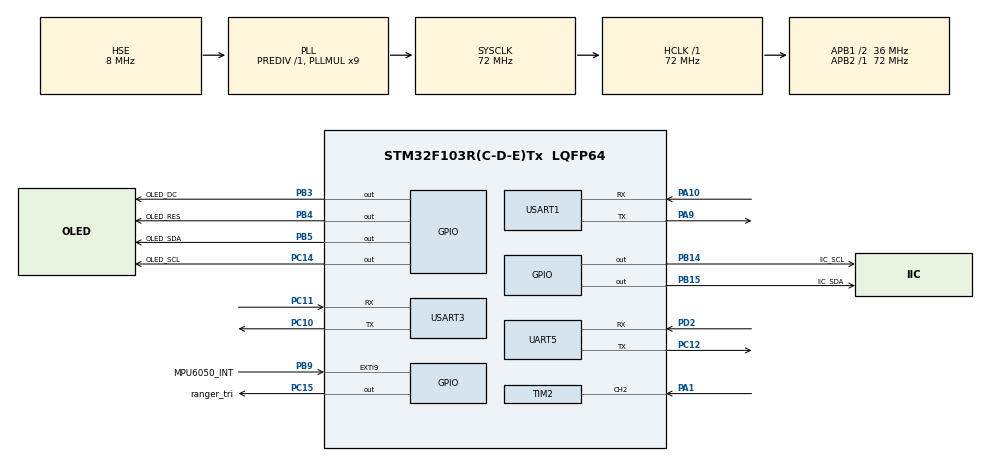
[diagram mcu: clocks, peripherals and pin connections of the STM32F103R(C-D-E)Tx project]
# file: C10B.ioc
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Dma.Request0=USART3_RX
Dma.USART3_RX.0.Direction=DMA_PERIPH_TO_MEMORY
Dma.USART3_RX.0.Instance=DMA1_Channel3
Dma.USART3_RX.0.MemDataAlignment=DMA_MDATAALIGN_BYTE
Dma.USART3_RX.0.MemInc=DMA_MINC_ENABLE
Dma.USART3_RX.0.Mode=DMA_NORMAL
Dma.USART3_RX.0.PeriphDataAlignment=DMA_PDATAALIGN_BYTE
Dma.USART3_RX.0.PeriphInc=DMA_PINC_DISABLE
Dma.USART3_RX.0.Priority=DMA_PRIORITY_LOW
Mcu.Family=STM32F1
Mcu.Name=STM32F103R(C-D-E)Tx
Mcu.Package=LQFP64
NVIC.DMA1_Channel3_IRQn=true\:0\:0\:false\:false\:true\:false\:true\:true
NVIC.EXTI9_5_IRQn=true\:6\:0\:true\:false\:true\:true\:true\:true
NVIC.PriorityGroup=NVIC_PRIORITYGROUP_4
NVIC.TIM2_IRQn=true\:4\:0\:true\:false\:true\:true\:true\:true
NVIC.TIM7_IRQn=true\:5\:0\:true\:false\:true\:true\:true\:true
NVIC.UART5_IRQn=true\:5\:0\:true\:false\:true\:true\:true\:true
NVIC.USART3_IRQn=true\:5\:0\:true\:false\:true\:true\:true\:true
PA1.Signal=S_TIM2_CH2
PA10.Mode=Asynchronous
PA10.Signal=USART1_RX
PA13.Mode=Serial_Wire
PA13.Signal=SYS_JTMS-SWDIO
PA14.Mode=Serial_Wire
PA14.Signal=SYS_JTCK-SWCLK
PA9.Mode=Asynchronous
PA9.Signal=USART1_TX
PB14.GPIO_Label=IIC_SCL
PB14.GPIO_Speed=GPIO_SPEED_FREQ_HIGH
PB14.PinState=GPIO_PIN_SET
PB14.Signal=GPIO_Output
PB15.GPIO_Label=IIC_SDA
PB15.GPIO_Speed=GPIO_SPEED_FREQ_HIGH
PB15.PinState=GPIO_PIN_SET
PB15.Signal=GPIO_Output
PB3.GPIO_Label=OLED_DC
PB3.GPIO_Speed=GPIO_SPEED_FREQ_HIGH
PB3.PinState=GPIO_PIN_SET
PB3.Signal=GPIO_Output
PB4.GPIO_Label=OLED_RES
PB4.GPIO_Speed=GPIO_SPEED_FREQ_HIGH
PB4.PinState=GPIO_PIN_SET
PB4.Signal=GPIO_Output
PB5.GPIO_Label=OLED_SDA
PB5.GPIO_Speed=GPIO_SPEED_FREQ_HIGH
PB5.PinState=GPIO_PIN_SET
PB5.Signal=GPIO_Output
PB9.GPIO_Label=MPU6050_INT
PB9.GPIO_ModeDefaultEXTI=GPIO_MODE_IT_FALLING
PB9.GPIO_PuPd=GPIO_PULLUP
PB9.Signal=GPXTI9
PC10.Mode=Asynchronous
PC10.Signal=USART3_TX
PC11.Mode=Asynchronous
PC11.Signal=USART3_RX
PC12.Mode=Asynchronous
PC12.Signal=UART5_TX
PC14-OSC32_IN.GPIO_Label=OLED_SCL
PC14-OSC32_IN.Signal=GPIO_Output
PC15-OSC32_OUT.GPIO_Label=ranger_tri
PC15-OSC32_OUT.Signal=GPIO_Output
PD0-OSC_IN.Mode=HSE-External-Oscillator
PD0-OSC_IN.Signal=RCC_OSC_IN
PD1-OSC_OUT.Mode=HSE-External-Oscillator
PD1-OSC_OUT.Signal=RCC_OSC_OUT
PD2.Mode=Asynchronous
PD2.Signal=UART5_RX
ProjectManager.HeapSize=0x200
ProjectManager.StackSize=0x400
ProjectManager.TargetToolchain=MDK-ARM V5.32
RCC.AHBFreq_Value=72000000
RCC.APB1CLKDivider=RCC_HCLK_DIV2
RCC.APB1Freq_Value=36000000
RCC.APB1TimFreq_Value=72000000
RCC.APB2Freq_Value=72000000
RCC.APB2TimFreq_Value=72000000
RCC.HCLKFreq_Value=72000000
RCC.PLLMUL=RCC_PLL_MUL9
RCC.PLLSourceVirtual=RCC_PLLSOURCE_HSE
RCC.SYSCLKFreq_VALUE=72000000
RCC.SYSCLKSource=RCC_SYSCLKSOURCE_PLLCLK
RCC.USBFreq_Value=72000000
SH.S_TIM2_CH2.0=TIM2_CH2,Input_Capture2_from_TI2
TIM2.Channel-Input_Capture2_from_TI2=TIM_CHANNEL_2
TIM2.Prescaler=71
TIM7.Period=9999
TIM7.Prescaler=71
UART5.VirtualMode=Asynchronous
USART1.VirtualMode=VM_ASYNC
USART3.VirtualMode=VM_ASYNC
VP_TIM2_VS_ClockSourceINT.Mode=Internal
VP_TIM7_VS_ClockSourceINT.Mode=Enable_Timer
board=custom

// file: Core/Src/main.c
/* USER CODE BEGIN Header */
/**
  ******************************************************************************
  * @file           : main.c
  * @brief          : Main program body
  ******************************************************************************
  * @attention
  *
  * Copyright (c) 2025 STMicroelectronics.
  * All rights reserved.
  *
  * This software is licensed under terms that can be found in the LICENSE file
  * in the root directory of this software component.
  * If no LICENSE file comes with this software, it is provided AS-IS.
  *
  ******************************************************************************
  */

/* USER CODE END Header */
#include "main.h"
#include "dma.h"
#include "tim.h"
#include "usart.h"
#include "gpio.h"

/* USER CODE BEGIN Includes */
#include <stdio.h>
/* USER CODE END Includes */

/* USER CODE BEGIN PV */
float ranger_dis=0;
float temperature=0;
uint8_t k210_buffer[30];
uint8_t k210_active_cnt = 0;
uint8_t k210_active_flag=0;

C10B_Sendmsg c10b_send = { 0 };
/* USER CODE END PV */

void SystemClock_Config(void);

int main(void)
{

  /* MCU Configuration--------------------------------------------------------*/

  /* Reset of all peripherals, Initializes the Flash interface and the Systick. */
  HAL_Init();

  /* Configure the system clock */
  SystemClock_Config();

  /* Initialize all configured peripherals */
  MX_GPIO_Init();
  MX_DMA_Init();
  MX_UART5_Init();
  MX_USART3_UART_Init();
  MX_TIM2_Init();
  MX_TIM7_Init();
  MX_USART1_UART_Init();
  /* USER CODE BEGIN 2 */
	DWT_Init();
	OLED_Init();

	//启动超声波通道
	HAL_TIM_IC_Start_IT(&htim2,TIM_CHANNEL_2);

	//MPU6050初始化
	MPU6050_initialize();
	DMP_Init();

	//启动DMA接收K210数据
	HAL_UARTEx_ReceiveToIdle_DMA(&huart3,k210_buffer,30);

  /* USER CODE END 2 */

  /* Infinite loop */
  /* USER CODE BEGIN WHILE */
  while (1)
  {
	  //姿态显示
	  OLED_ShowString(0,0,"Pitch");
	  OLED_ShowString(0,10,"Roll");
	  OLED_ShowString(0,20,"Yaw");
	  OLED_ShowFloat(50,0,Pitch,3,2);
	  OLED_ShowFloat(50,10,Roll,3,2);
	  OLED_ShowFloat(50,20,Yaw,3,2);

	  //温度显示
	  OLED_ShowString(0,30,"temp");
	  OLED_ShowFloat(50,30,temperature,3,2);

	  //颜色显示
	  OLED_ShowString(0,40,"color");
		if(k210.color==0){
			OLED_ShowString(50,40,"red");
		}else if(k210.color==1){
			OLED_ShowString(50,40,"green");
		}else if(k210.color==2){
			OLED_ShowString(50,40,"yellow");
		}

	  //巡线中心与识别面积显示
	  OLED_ShowNumber(30,50,k210.cx,3,12);
	  OLED_ShowNumber(60,50,k210.size,4,12);

	  OLED_Refresh_Gram();
	  delay_ms(10);
    /* USER CODE END WHILE */

  }
}

void SystemClock_Config(void)
{
  RCC_OscInitTypeDef RCC_OscInitStruct = {0};
  RCC_ClkInitTypeDef RCC_ClkInitStruct = {0};

  /** Initializes the RCC Oscillators according to the specified parameters
  * in the RCC_OscInitTypeDef structure.
  */
  RCC_OscInitStruct.OscillatorType = RCC_OSCILLATORTYPE_HSE;
  RCC_OscInitStruct.HSEState = RCC_HSE_ON;
  RCC_OscInitStruct.HSEPredivValue = RCC_HSE_PREDIV_DIV1;
  RCC_OscInitStruct.HSIState = RCC_HSI_ON;
  RCC_OscInitStruct.PLL.PLLState = RCC_PLL_ON;
  RCC_OscInitStruct.PLL.PLLSource = RCC_PLLSOURCE_HSE;
  RCC_OscInitStruct.PLL.PLLMUL = RCC_PLL_MUL9;
  if (HAL_RCC_OscConfig(&RCC_OscInitStruct) != HAL_OK)
  {
    Error_Handler();
  }

  /** Initializes the CPU, AHB and APB buses clocks
  */
  RCC_ClkInitStruct.ClockType = RCC_CLOCKTYPE_HCLK|RCC_CLOCKTYPE_SYSCLK
                              |RCC_CLOCKTYPE_PCLK1|RCC_CLOCKTYPE_PCLK2;
  RCC_ClkInitStruct.SYSCLKSource = RCC_SYSCLKSOURCE_PLLCLK;
  RCC_ClkInitStruct.AHBCLKDivider = RCC_SYSCLK_DIV1;
  RCC_ClkInitStruct.APB1CLKDivider = RCC_HCLK_DIV2;
  RCC_ClkInitStruct.APB2CLKDivider = RCC_HCLK_DIV1;

  if (HAL_RCC_ClockConfig(&RCC_ClkInitStruct, FLASH_LATENCY_2) != HAL_OK)
  {
    Error_Handler();
  }
}

/* USER CODE BEGIN 4 */
//串口重定向
UART_HandleTypeDef *DebugSerial = &huart1;

//printf函数实现
int fputc(int ch,FILE* stream)
{
	while( HAL_OK != HAL_UART_Transmit(DebugSerial,(const uint8_t *)&ch,1,100));
	return ch;
}

//MPU6050外部中断
void HAL_GPIO_EXTI_Callback(uint16_t GPIO_Pin)
{
	static uint8_t ranger_cnt = 0;
	static uint32_t temperature_cnt = 0;
	static uint8_t c50c_send_cnt = 0;

	uint8_t tempbuffer[2];

	//MPU6050 外部中断引脚触发 频率为 DEFAULT_MPU_HZ
	if( GPIO_Pin == MPU6050_INT_Pin )
	{
		//获取温度值
		temperature_cnt++;
		if( temperature_cnt>=100*5 )
		{
			temperature_cnt=0;
			pIICInterface_t iic = &User_sIICDev;
			iic->read_reg(0x68<<1,0x41,tempbuffer,2,200);
			temperature = (float)((short)(tempbuffer[0]<<8|tempbuffer[1]))/340.0f+36.53f;//温度数据
		}

		//陀螺仪数据读取
		 Read_DMP();

		//触发超声波工作 20Hz
		ranger_cnt++;
		if( ranger_cnt>=5 )
		{
			ranger_cnt=0;
			HAL_GPIO_WritePin(ranger_tri_GPIO_Port,ranger_tri_Pin,GPIO_PIN_RESET);
			delay_us(15);
			HAL_GPIO_WritePin(ranger_tri_GPIO_Port,ranger_tri_Pin,GPIO_PIN_SET);
		}

		//k210活跃检测
		k210_active_cnt++;
		if( k210_active_cnt>=100*1 )
		{
			k210_active_flag = 0;
		}

		//20Hz频率传输数据到C50C
		c50c_send_cnt++;
		if( c50c_send_cnt>=5 )
		{
			c50c_send_cnt = 0;
			c10b_send.Head1 = C10B_HEAD1;
			c10b_send.Head2 = C10B_HEAD2;
			c10b_send.k210_alive = k210_active_flag;
			c10b_send.k210_cx = k210.cx;
			c10b_send.k210_size = k210.size;
			c10b_send.color = k210.color;
			c10b_send.temperature = temperature*100;
			uint8_t* sendptr = (uint8_t*)&c10b_send;
			c10b_send.BCCcheck = calculateBCC(sendptr,sizeof(c10b_send)-1);
			HAL_UART_Transmit(&huart5,sendptr,sizeof(c10b_send),500);
		}
	}
}

//超声波采集辅助变量
uint32_t upvalue=0;
uint32_t downvalue=0;
//超声波采集中断
void HAL_TIM_IC_CaptureCallback(TIM_HandleTypeDef *htim)
{
	#define TIM_COUNT_FREQ 1000000.0f
	enum {
		WaitUp=0,
		WaitDown,
	};
	static uint8_t sm = WaitUp;

	//超声波接口触发中断
	if( htim == &htim2 && htim->Channel == HAL_TIM_ACTIVE_CHANNEL_2 )
	{
		switch (sm)
		{
			case WaitUp:
			{
				//读出计数值
				upvalue = HAL_TIM_ReadCapturedValue(&htim2,TIM_CHANNEL_2);

				//设置下降沿捕获
				TIM_RESET_CAPTUREPOLARITY(&htim2,TIM_CHANNEL_2);
				TIM_SET_CAPTUREPOLARITY(&htim2,TIM_CHANNEL_2,TIM_ICPOLARITY_FALLING);

				//状态机切换
				sm = WaitDown;
				break;
			}

			case WaitDown:
			{
				//读取计数值
				downvalue = HAL_TIM_ReadCapturedValue(&htim2,TIM_CHANNEL_2);

				//计算距离
				if( upvalue > downvalue )//溢出计算
					ranger_dis = downvalue+0xFFFF - upvalue;
				else
					ranger_dis = downvalue - upvalue;

				// S = V*t/2
				ranger_dis = (ranger_dis/TIM_COUNT_FREQ)/2.0f * 340.0f;

				//设置上升沿捕获
				TIM_RESET_CAPTUREPOLARITY(&htim2,TIM_CHANNEL_2);
				TIM_SET_CAPTUREPOLARITY(&htim2,TIM_CHANNEL_2,TIM_ICPOLARITY_RISING);

				//状态机切换
				sm = WaitUp;

				break;
			}
		}
	}

}

//串口DMA中断,处理K210数据
void HAL_UARTEx_RxEventCallback(UART_HandleTypeDef *huart, uint16_t Size)
{
	if( huart == &huart3 && HAL_UART_STATE_READY == huart->RxState )
	{
		//活跃状态刷新
		k210_active_cnt=0;
		k210_active_flag=1;

		//解析k210数据
		for(uint8_t i=0;i<Size;i++)
		{
			k210_data_callback(k210_buffer[i]);
		}

		//重新使能中断
		HAL_UARTEx_ReceiveToIdle_DMA(&huart3,k210_buffer,30);
	}
}
/* USER CODE END 4 */

void Error_Handler(void)
{
  __disable_irq();
  while (1)
  {
  }
}
